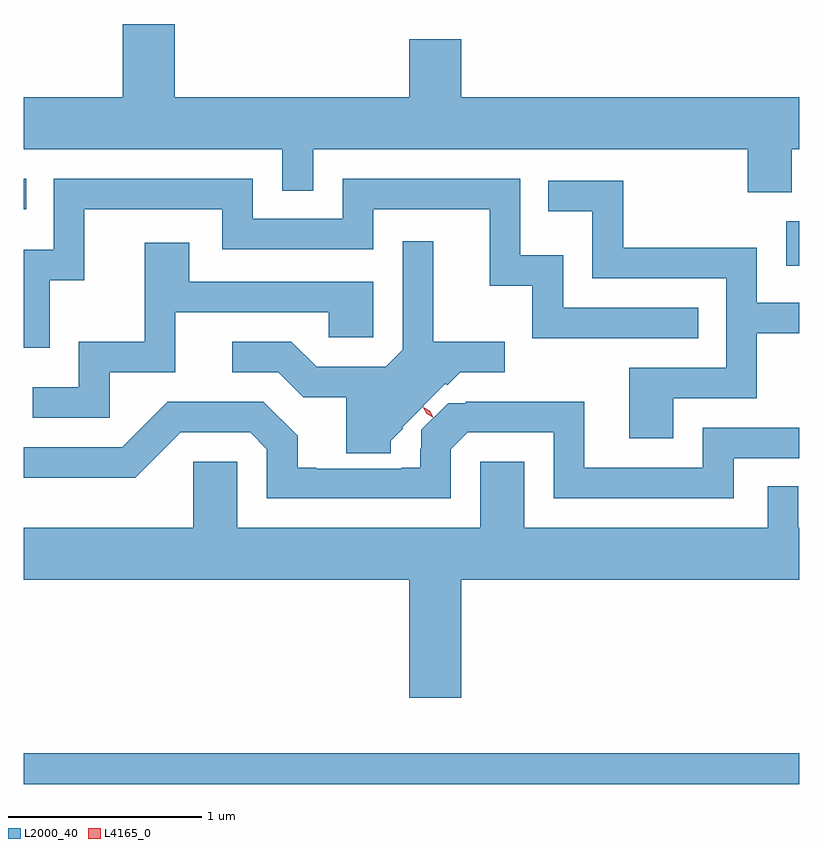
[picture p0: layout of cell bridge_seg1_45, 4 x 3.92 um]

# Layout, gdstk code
import gdstk
lib = gdstk.Library(unit=1e-6, precision=1e-09)
def R(c, l, rs):  # rectangles x0, y0, x1, y1
    for r in rs: c.add(gdstk.rectangle(r[:2], r[2:], *l))
def P(c, l, *ps):  # polygons
    for p in ps: c.add(gdstk.Polygon(p, *l))
L2000_40 = (2000, 40)
L4165_0 = (4165, 0)

bridge_seg1_45 = lib.new_cell('bridge_seg1_45')
R(bridge_seg1_45, L2000_40, [(1811.487,922.941,1815.487,923.099), (1815.421,925.616,1815.487,925.844), (1811.487,925.906,1811.498,926.064)])
P(bridge_seg1_45, L2000_40, [(1815.449,926.216),(1815.487,926.216),(1815.487,926.484),(1813.744,926.484),(1813.744,926.784),(1813.476,926.784),(1813.476,926.484),(1812.264,926.484),(1812.264,926.863),(1811.996,926.863),(1811.996,926.484),(1811.487,926.484),(1811.487,926.216),(1812.821,926.216),(1812.821,926.003),(1812.979,926.003),(1812.979,926.216),(1815.221,926.216),(1815.221,925.996),(1815.449,925.996)],
  [(1811.619,925.541),(1811.799,925.541),(1811.799,925.906),(1812.511,925.906),(1812.511,925.701),(1813.289,925.701),(1813.289,925.906),(1813.891,925.906),(1813.891,925.511),(1814.111,925.511),(1814.111,925.241),(1814.968,925.241),(1814.968,925.399),(1814.269,925.399),(1814.269,925.669),(1814.049,925.669),(1814.049,926.064),(1813.131,926.064),(1813.131,925.859),(1812.669,925.859),(1812.669,926.064),(1811.641,926.064),(1811.641,925.699),(1811.487,925.699),(1811.487,925.193),(1811.619,925.193)],
  [(1814.839,924.931),(1815.269,924.931),(1815.269,925.266),(1815.487,925.266),(1815.487,925.424),(1815.269,925.424),(1815.269,925.709),(1814.579,925.709),(1814.579,926.054),(1814.193,926.054),(1814.193,925.896),(1814.421,925.896),(1814.421,925.551),(1815.111,925.551),(1815.111,925.089),(1814.611,925.089),(1814.611,924.726),(1814.839,924.726)],
  [(1813.379,924.712),(1813.444,924.777),(1813.439,924.783),(1813.662,925.006),(1813.671,924.998),(1813.739,925.066),(1813.968,925.066),(1813.968,925.224),(1813.599,925.224),(1813.599,925.743),(1813.441,925.743),(1813.441,925.182),(1813.354,925.094),(1812.997,925.094),(1812.867,925.224),(1812.563,925.224),(1812.563,925.066),(1812.799,925.066),(1812.929,924.936),(1813.151,924.936),(1813.151,924.648),(1813.379,924.648)],
  [(1811.929,925.066),(1812.269,925.066),(1812.269,925.376),(1813.061,925.376),(1813.061,925.246),(1813.289,925.246),(1813.289,925.534),(1812.339,925.534),(1812.339,925.734),(1812.111,925.734),(1812.111,925.224),(1811.771,925.224),(1811.771,924.989),(1811.533,924.989),(1811.533,924.831),(1811.929,924.831)],
  [(1813.689,924.669),(1813.777,924.756),(1814.221,924.756),(1814.221,924.416),(1815.149,924.416),(1815.149,924.621),(1815.487,924.621),(1815.487,924.779),(1814.991,924.779),(1814.991,924.574),(1814.379,924.574),(1814.379,924.914),(1813.768,924.914),(1813.768,924.907),(1813.676,924.907),(1813.538,924.77),(1813.538,924.67),(1813.531,924.67),(1813.531,924.574),(1813.435,924.574),(1813.435,924.569),(1812.995,924.569),(1812.995,924.574),(1812.899,924.574),(1812.899,924.737),(1812.722,924.914),(1812.229,924.914),(1811.994,924.679),(1811.487,924.679),(1811.487,924.521),(1812.062,924.521),(1812.297,924.756),(1812.654,924.756),(1812.741,924.669),(1812.741,924.416),(1813.689,924.416)],
  [(1813.744,923.996),(1815.487,923.996),(1815.487,924.264),(1815.484,924.264),(1815.484,924.478),(1815.326,924.478),(1815.326,924.264),(1814.069,924.264),(1814.069,924.604),(1813.841,924.604),(1813.841,924.264),(1812.589,924.264),(1812.589,924.604),(1812.361,924.604),(1812.361,924.264),(1811.487,924.264),(1811.487,923.996),(1813.476,923.996),(1813.476,923.386),(1813.744,923.386)])
P(bridge_seg1_45, L4165_0, [(1813.596,924.834),(1813.565,924.852),(1813.547,924.883),(1813.547,924.884),(1813.548,924.884),(1813.579,924.866),(1813.597,924.835),(1813.597,924.834)],
  [(1813.596,924.838),(1813.567,924.853),(1813.551,924.882),(1813.551,924.883),(1813.552,924.883),(1813.581,924.868),(1813.597,924.838),(1813.597,924.838)])

lib.write_gds('bridge_seg1_45.gds')
